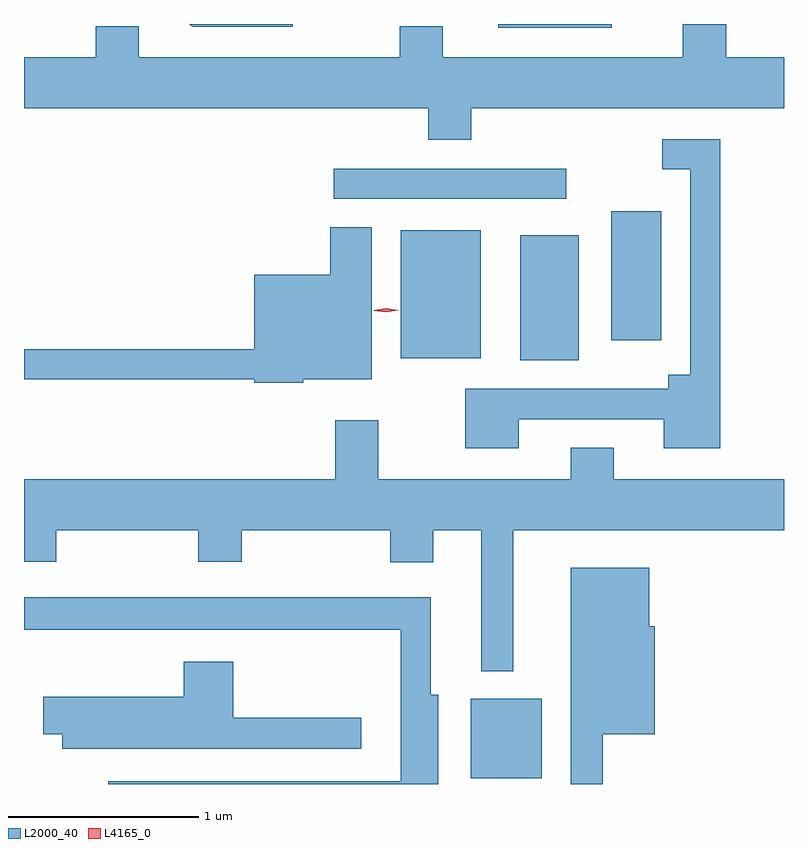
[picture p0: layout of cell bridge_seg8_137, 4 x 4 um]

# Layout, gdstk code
import gdstk
lib = gdstk.Library(unit=1e-6, precision=1e-09)
def R(c, l, rs):  # rectangles x0, y0, x1, y1
    for r in rs: c.add(gdstk.rectangle(r[:2], r[2:], *l))
def P(c, l, *ps):  # polygons
    for p in ps: c.add(gdstk.Polygon(p, *l))
L2000_40 = (2000, 40)
L4165_0 = (4165, 0)

bridge_seg8_137 = lib.new_cell('bridge_seg8_137')
R(bridge_seg8_137, L2000_40, [(1839.966,1850.651,1840.339,1851.069), (1840.226,1852.851,1840.534,1853.509), (1839.596,1852.861,1840.019,1853.534), (1840.706,1852.956,1840.969,1853.634), (1839.243,1853.701,1840.468,1853.859), (1840.111,1854.601,1840.708,1854.62)])
P(bridge_seg8_137, L2000_40, [(1839.969,1854.176),(1841.614,1854.176),(1841.614,1854.444),(1841.309,1854.444),(1841.309,1854.62),(1841.081,1854.62),(1841.081,1854.444),(1839.819,1854.444),(1839.819,1854.609),(1839.591,1854.609),(1839.591,1854.444),(1838.219,1854.444),(1838.219,1854.609),(1837.991,1854.609),(1837.991,1854.444),(1837.614,1854.444),(1837.614,1854.176),(1839.741,1854.176),(1839.741,1854.011),(1839.969,1854.011)],
  [(1839.028,1854.62),(1838.485,1854.62),(1838.499,1854.606),(1839.028,1854.606)],
  [(1840.219,1852.541),(1840.981,1852.541),(1840.981,1852.386),(1841.279,1852.386),(1841.279,1854.014),(1840.973,1854.014),(1840.973,1853.856),(1841.121,1853.856),(1841.121,1852.774),(1841.006,1852.774),(1841.006,1852.699),(1839.936,1852.699),(1839.936,1852.386),(1840.219,1852.386)],
  [(1839.084,1852.751),(1839.444,1852.751),(1839.444,1853.549),(1839.226,1853.549),(1839.226,1853.299),(1838.826,1853.299),(1838.826,1852.909),(1837.614,1852.909),(1837.614,1852.751),(1838.826,1852.751),(1838.826,1852.731),(1839.084,1852.731)],
  [(1840.189,1851.956),(1841.614,1851.956),(1841.614,1852.224),(1840.719,1852.224),(1840.719,1852.389),(1840.491,1852.389),(1840.491,1852.224),(1839.479,1852.224),(1839.479,1852.534),(1839.251,1852.534),(1839.251,1852.224),(1837.614,1852.224),(1837.614,1851.791),(1837.784,1851.791),(1837.784,1851.956),(1838.531,1851.956),(1838.531,1851.791),(1838.759,1851.791),(1838.759,1851.956),(1839.541,1851.956),(1839.541,1851.786),(1839.769,1851.786),(1839.769,1851.956),(1840.021,1851.956),(1840.021,1851.213),(1840.189,1851.213)],
  [(1840.659,1850.881),(1840.934,1850.881),(1840.934,1851.449),(1840.904,1851.449),(1840.904,1851.759),(1840.491,1851.759),(1840.491,1850.62),(1840.659,1850.62)],
  [(1839.794,1851.089),(1839.754,1851.089),(1839.754,1851.604),(1837.614,1851.604),(1837.614,1851.431),(1839.596,1851.431),(1839.596,1850.634),(1838.058,1850.634),(1838.058,1850.62),(1839.794,1850.62)],
  [(1839.388,1850.969),(1838.714,1850.969),(1838.714,1851.264),(1838.456,1851.264),(1838.456,1851.079),(1837.716,1851.079),(1837.716,1850.881),(1837.816,1850.881),(1837.816,1850.806),(1839.388,1850.806)])
P(bridge_seg8_137, L4165_0, [(1839.52,1853.103),(1839.454,1853.112),(1839.454,1853.112),(1839.454,1853.113),(1839.52,1853.123),(1839.586,1853.114),(1839.586,1853.113),(1839.586,1853.113)])

lib.write_gds('bridge_seg8_137.gds')
